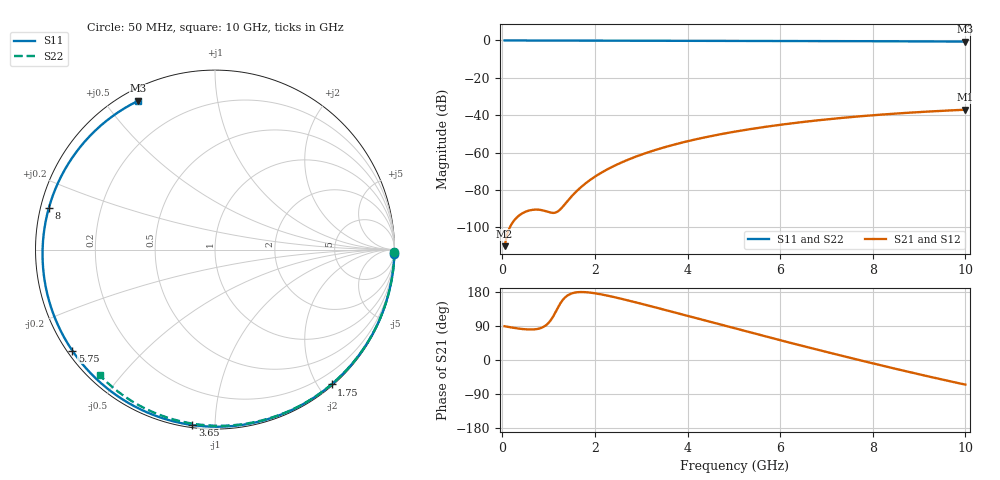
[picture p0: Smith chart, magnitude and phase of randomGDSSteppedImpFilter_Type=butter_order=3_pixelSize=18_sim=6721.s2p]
! freq	dB(S11)	phase(S11)	dB(S12)	phase(S12)
!  dB(S21)	phase(S21)	dB(S22)	phase(S22)
!S-par simulation data
#  GHz  S  DB  R 50
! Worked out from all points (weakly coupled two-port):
!   200 points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, 50 MHz to 10 GHz, reference 50 ohm
!   highest |S21| = -37.06 dB at 10 GHz (marker M1); lowest = -110.1 dB at 50 MHz (marker M2)
!   lowest |S11| = -0.6 dB at 10 GHz (marker M3), VSWR 28.78, Z = 2.38 + j30.4 ohm
!   |S11| at or under -10 dB: nowhere
!   |S22| runs from -0.4 to 0.0 dB; largest |S21 - S12| = 0
!   S11 on the Smith chart (normalised r, x): 50 MHz: 0, -79; 1.75 GHz: 0.02, -2.19; 3.65 GHz: 0.01, -0.88; 5.75 GHz: 0.01, -0.32; 8 GHz: 0.02, +0.12; 10 GHz: 0.05, +0.61
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0.05  -0.00 -1.5  -110.08 89.1  -110.08 89.1  -0.00 -0.8
0.4  -0.02 -11.5  -93.00 82.2  -93.00 82.2  -0.01 -6.1
0.8  -0.03 -22.9  -90.61 83.0  -90.61 83.0  -0.02 -12.2
1.2  -0.04 -34.1  -91.50 138.1  -91.50 138.1  -0.02 -18.2
1.6  -0.06 -45.1  -80.77 178.5  -80.77 178.5  -0.03 -24.2
1.65  -0.06 -46.4  -79.60 179.1  -79.60 179.1  -0.03 -24.9
1.75  -0.06 -49.2  -77.44 179.3  -77.44 179.3  -0.03 -26.4
2.05  -0.07 -57.2  -72.10 175.1  -72.10 175.1  -0.04 -30.9
2.45  -0.08 -67.6  -66.71 165.0  -66.71 165.0  -0.05 -36.7
2.9  -0.10 -79.1  -62.02 151.6  -62.02 151.6  -0.06 -43.2
3.4  -0.12 -91.4  -57.90 135.8  -57.90 135.8  -0.07 -50.3
3.65  -0.13 -97.4  -56.14 127.7  -56.14 127.7  -0.07 -53.8
4.3  -0.15 -112.5  -52.25 106.7  -52.25 106.7  -0.09 -62.8
5.05  -0.19 -129.4  -48.68 82.4  -48.68 82.4  -0.11 -72.8
5.75  -0.23 -144.7  -45.98 60.1  -45.98 60.1  -0.14 -81.9
6.25  -0.26 -155.5  -44.35 44.4  -44.35 44.4  -0.16 -88.2
6.7  -0.29 -165.2  -43.04 30.4  -43.04 30.4  -0.18 -93.8
7.35  -0.35 -179.4  -41.41 10.6  -41.41 10.6  -0.22 -101.7
8  -0.41 166.1  -40.03 -8.9  -40.03 -8.9  -0.26 -109.5
8.35  -0.44 158.0  -39.38 -19.1  -39.38 -19.1  -0.29 -113.6
9.15  -0.52 138.9  -38.12 -41.9  -38.12 -41.9  -0.36 -122.8
10  -0.60 117.3  -37.06 -65.0  -37.06 -65.0  -0.45 -132.5
